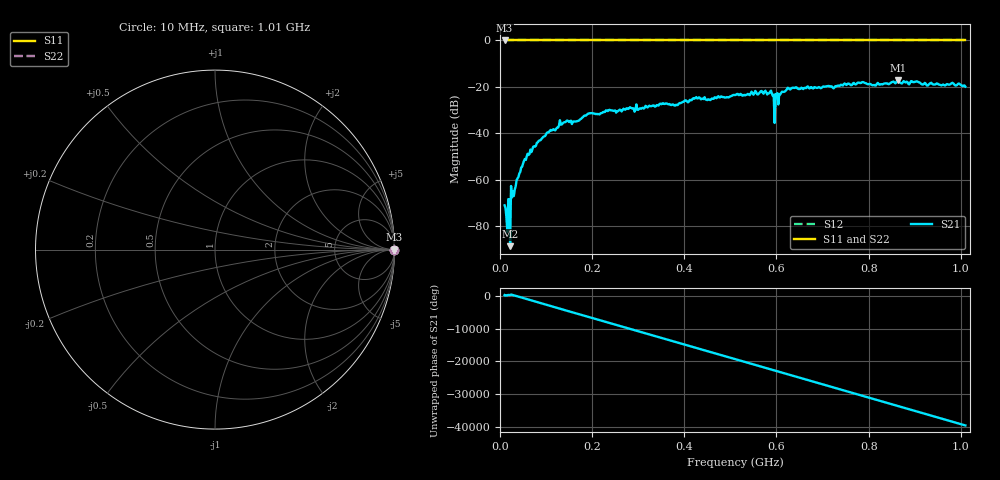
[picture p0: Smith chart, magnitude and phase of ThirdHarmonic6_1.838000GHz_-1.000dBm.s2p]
! 8/16/2025 10:15:22 PM
! C:\ANRITSUVNA\TEMP\TEMP.S2P
! CHANNEL.1
! TR.MEASUREMENT
! RAW.DATA
! RF.CORRECTION.OFF
! AVERAGING.OFF
! IF.BANDWIDTH: 5KHZ
! SWEEPTYPE:  FREQ.SWEEP(Linear)
! Reference Plane Port Info
! PORT:  PORT1  PORT2
! DISTANCE:  0  m  0  m
! TIME:  0  s  0  s
! PHASE.OFFSET:  0  deg.  0  deg.
! LOSS:  0  dB  0  dB
! REF.LOSS:  0  dB  0  dB
! REF.FREQ:  0  Hz  0  Hz
! Power Info
! POWER:  -20  dBm  -20  dBm
! EFF.POWER:  -20  dBm  -20  dBm
! SOURCE.ATTEN:  0  dB  0  dB
! TEST.ATTEN:  0  dB  0  dB
# GHZ S RI R 50.0
! FREQ.GHZ  S11RE  S11IM  S21RE  S21IM  S12RE  S12IM  S22RE  S22IM
!; PortSelection: Port_12
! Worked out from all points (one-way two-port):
!   501 points, 10 MHz to 1.01 GHz, reference 50 ohm
!   highest |S21| = -17.00 dB at 864 MHz (marker M1); lowest = -88.7 dB at 22 MHz (marker M2)
!   lowest |S11| = 0.0 dB at 10 MHz (marker M3)
!   |S11| at or under -10 dB: nowhere
!   |S22| runs from 0.0 to 0.0 dB; largest |S21 - S12| = 1.1
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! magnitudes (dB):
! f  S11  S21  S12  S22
! 10 MHz  0.0  -71.1  0.0  0.0
! 18 MHz  0.0  -68.4  0.0  0.0
! 22 MHz  0.0  -88.7  0.0  0.0
! 26 MHz  0.0  -67.7  0.0  0.0
! 28 MHz  0.0  -65.0  0.0  0.0
! 50 MHz  0.0  -53.1  0.0  0.0
! 84 MHz  0.0  -43.3  0.0  0.0
! 134 MHz  0.0  -36.3  0.0  0.0
! 178 MHz  0.0  -33.4  0.0  0.0
! 196 MHz  0.0  -31.4  0.0  0.0
! 344 MHz  0.0  -28.1  0.0  0.0
! 510 MHz  0.0  -23.5  0.0  0.0
! 586 MHz  0.0  -22.2  0.0  0.0
! 590 MHz  0.0  -22.9  0.0  0.0
! 592 MHz  0.0  -23.9  0.0  0.0
! 600 MHz  0.0  -23.5  0.0  0.0
! 602 MHz  0.0  -22.7  0.0  0.0
! 624 MHz  0.0  -20.4  0.0  0.0
! 678 MHz  0.0  -20.6  0.0  0.0
! 844 MHz  0.0  -18.9  0.0  0.0
! 864 MHz  0.0  -17.0  0.0  0.0
! 1.01 GHz  0.0  -19.9  0.0  0.0
